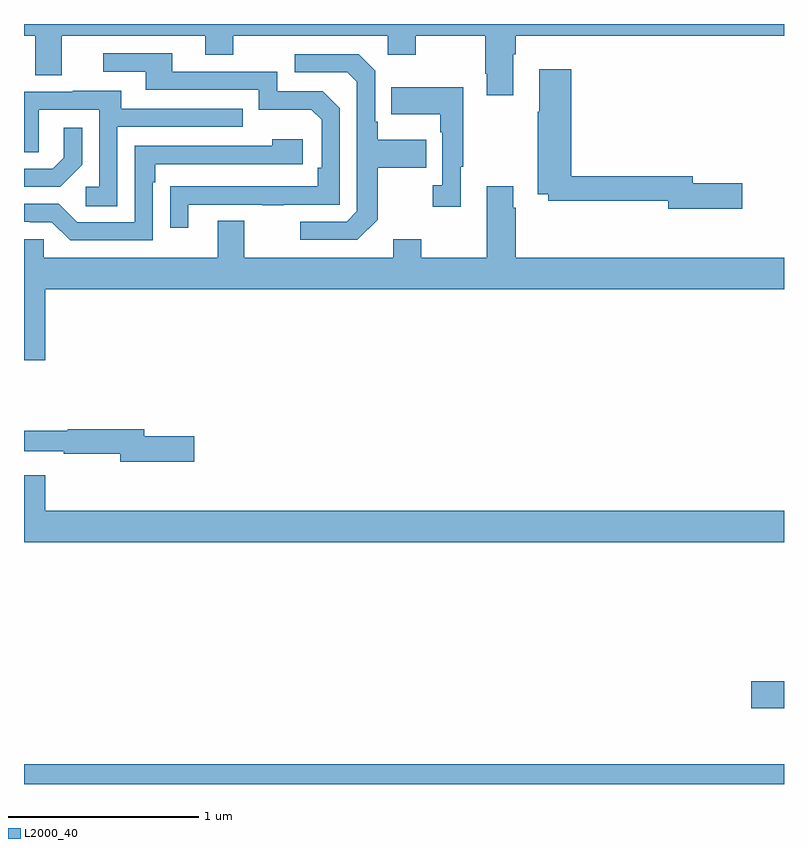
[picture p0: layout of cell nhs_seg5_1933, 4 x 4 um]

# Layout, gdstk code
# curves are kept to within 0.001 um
import gdstk
lib = gdstk.Library(unit=1e-6, precision=1e-09)
def R(c, l, rs):  # rectangles x0, y0, x1, y1
    for r in rs: c.add(gdstk.rectangle(r[:2], r[2:], *l))
def P(c, l, *ps):  # polygons
    for p in ps: c.add(gdstk.Polygon(p, *l))
L2000_40 = (2000, 40)

nhs_seg5_1933 = lib.new_cell('nhs_seg5_1933')
R(nhs_seg5_1933, L2000_40, [(225,876.799,229,876.904), (228.828,877.198,229,877.34)])
P(nhs_seg5_1933, L2000_40, [(227.575,880.64),(227.588,880.64),(227.588,880.736),(229,880.736),(229,880.799),(225,880.799),(225,880.736),(225.059,880.736),(225.059,880.528),(225.199,880.528),(225.199,880.736),(225.953,880.736),(225.953,880.637),(226.101,880.637),(226.101,880.736),(226.914,880.736),(226.914,880.637),(227.061,880.637),(227.061,880.736),(227.428,880.736),(227.428,880.537),(227.435,880.537),(227.435,880.425),(227.575,880.425)],
  [(225.865,879.849),(226.255,879.849),(226.255,879.844),(226.367,879.844),(226.367,879.849),(226.662,879.849),(226.662,880.356),(226.572,880.446),(226.332,880.446),(226.332,880.548),(225.781,880.548),(225.781,880.644),(225.417,880.644),(225.417,880.548),(225.641,880.548),(225.641,880.452),(226.236,880.452),(226.236,880.349),(226.513,880.349),(226.566,880.296),(226.566,880.042),(226.546,880.042),(226.546,879.945),(225.769,879.944),(225.769,879.726),(225.865,879.726)],
  [(226.861,879.769),(226.861,880.042),(227.117,880.042),(227.117,880.189),(226.861,880.189),(226.861,880.285),(226.848,880.285),(226.848,880.554),(226.761,880.641),(226.425,880.641),(226.425,880.545),(226.701,880.545),(226.752,880.494),(226.752,879.813),(226.698,879.759),(226.455,879.759),(226.455,879.663),(226.755,879.663)],
  [(228.781,879.962),(228.52,879.962),(228.52,879.998),(227.879,879.998),(227.879,880.561),(227.711,880.561),(227.711,880.337),(227.704,880.337),(227.704,879.902),(227.76,879.902),(227.76,879.87),(228.392,879.87),(228.392,879.827),(228.781,879.827)],
  [(227.299,880.049),(227.311,880.049),(227.311,880.465),(226.933,880.465),(226.933,880.325),(227.19,880.325),(227.19,880.229),(227.202,880.229),(227.202,879.95),(227.151,879.95),(227.151,879.837),(227.299,879.837)],
  [(225.492,880.257),(226.151,880.257),(226.151,880.353),(225.511,880.353),(225.511,880.447),(225.257,880.447),(225.257,880.443),(225,880.443),(225,880.123),(225.078,880.123),(225.078,880.347),(225.396,880.347),(225.396,879.942),(225.324,879.942),(225.324,879.841),(225.492,879.841)],
  [(225.306,880.058),(225.306,880.252),(225.209,880.252),(225.209,880.095),(225.152,880.038),(225,880.038),(225,879.942),(225.19,879.942)],
  [(225.678,879.965),(225.691,879.965),(225.691,880.062),(226.468,880.062),(226.468,880.192),(226.307,880.192),(226.307,880.158),(225.582,880.158),(225.582,879.756),(225.279,879.756),(225.183,879.852),(225,879.852),(225,879.759),(225.029,879.759),(225.029,879.756),(225.147,879.756),(225.243,879.66),(225.678,879.66)],
  [(225.112,879.404),(229,879.404),(229,879.568),(227.588,879.568),(227.588,879.833),(227.575,879.833),(227.575,879.946),(227.435,879.946),(227.435,879.568),(227.091,879.568),(227.091,879.667),(226.943,879.667),(226.943,879.568),(226.159,879.568),(226.159,879.763),(226.019,879.763),(226.019,879.568),(225.105,879.568),(225.105,879.666),(225,879.666),(225,879.03),(225.112,879.03)],
  [(225.895,878.63),(225.634,878.63),(225.634,878.666),(225.23,878.666),(225.23,878.659),(225,878.659),(225,878.55),(225.208,878.55),(225.208,878.538),(225.506,878.538),(225.506,878.495),(225.895,878.495)],
  [(229,878.236),(225.112,878.236),(225.112,878.425),(225,878.425),(225,878.072),(229,878.072)])

lib.write_gds('nhs_seg5_1933.gds')
